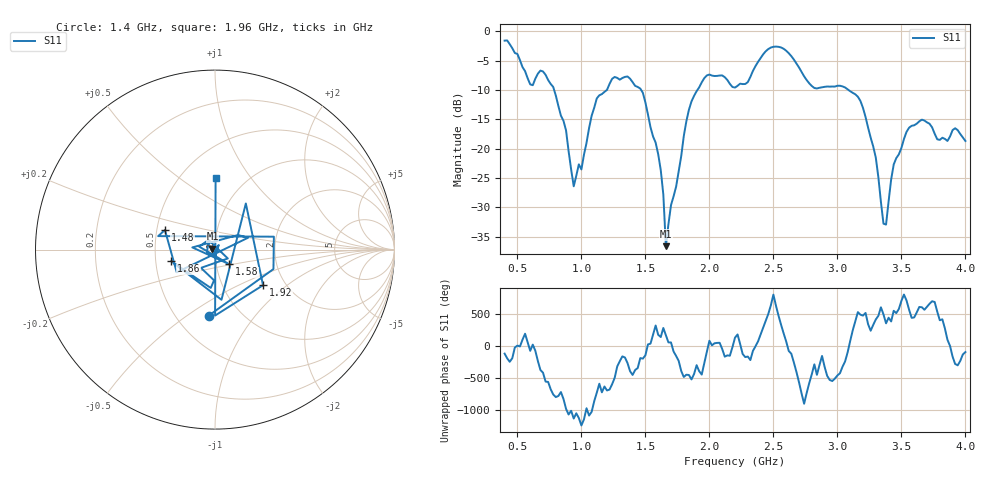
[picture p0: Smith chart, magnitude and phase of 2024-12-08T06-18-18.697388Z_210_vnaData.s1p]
!Created with skrf (http://scikit-rf.org).
# Hz S RI R 50.0
!freq ReS11 ImS11
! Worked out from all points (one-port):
!   181 points, 400 MHz to 4 GHz, reference 50 ohm
!   lowest |S11| = -36.6 dB at 1.66 GHz (marker M1), VSWR 1.03, Z = 48.6 + j0.458 ohm
!   |S11| at or under -10 dB: 787.1 MHz to 1.198 GHz (411.4 MHz wide, 41.4 % of centre); 1.467 GHz to 1.906 GHz (439.2 MHz wide, 26 % of centre); 3.087 GHz to end of sweep
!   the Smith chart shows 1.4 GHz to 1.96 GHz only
!   S11 on the Smith chart (normalised r, x): 1.4 GHz: 0.72, -0.61; 1.48 GHz: 0.55, +0.13; 1.58 GHz: 1.15, -0.19; 1.86 GHz: 0.60, -0.08; 1.92 GHz: 1.54, -0.69; 1.96 GHz: 0.73, +0.69
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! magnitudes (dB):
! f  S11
! 400 MHz  -1.6
! 600 MHz  -9.0
! 720 MHz  -7.4
! 860 MHz  -15.3
! 940 MHz  -26.4
! 1.12 GHz  -11.4
! 1.3 GHz  -8.2
! 1.4 GHz  -8.7
! 1.48 GHz  -10.5
! 1.58 GHz  -19.0
! 1.64 GHz  -27.8
! 1.66 GHz  -36.6
! 1.76 GHz  -23.9
! 1.86 GHz  -11.9
! 1.92 GHz  -9.5
! 1.96 GHz  -8.0
! 2.2 GHz  -9.6
! 2.48 GHz  -2.8
! 2.66 GHz  -4.8
! 2.82 GHz  -9.7
! 3.1 GHz  -10.2
! 3.18 GHz  -11.9
! 3.28 GHz  -19.6
! 3.36 GHz  -32.8
! 3.38 GHz  -32.9
! 3.44 GHz  -22.7
! 3.56 GHz  -16.4
! 4 GHz  -18.7
